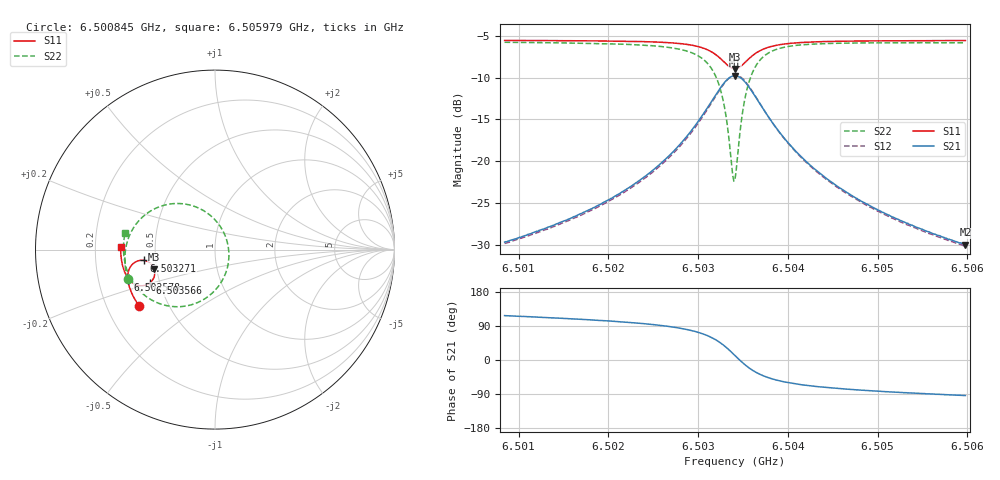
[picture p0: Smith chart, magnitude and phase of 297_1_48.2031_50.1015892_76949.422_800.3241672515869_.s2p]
#  HZ  S  RI  R  50.00
! Rohde & Schwarz Vector Network Analyzer
! Rohde-Schwarz,ZNB20-2Port,1311601062101988,3.16
! Created: UTC 3/20/2024, 11:49:18 AM
! freq[Hz]  re:S11  im:S11  re:S21  im:S21  re:S12  im:S12  re:S22  im:S22
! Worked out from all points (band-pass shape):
!   401 points, 6.500845 GHz to 6.505979 GHz, reference 50 ohm
!   highest |S21| = -9.78 dB at 6.503412 GHz (marker M1); lowest = -30.0 dB at 6.505979 GHz (marker M2)
!   |S21| within 3 dB of the highest: 6.503154 GHz to 6.503668 GHz (514 kHz wide, 0.0079 % of centre)
!   lowest |S11| = -9.0 dB at 6.503412 GHz (marker M3), VSWR 2.11, Z = 24.2 - j6.07 ohm
!   |S11| at or under -10 dB: nowhere
!   |S22| runs from -22.4 to -5.8 dB; largest |S21 - S12| = 0.011
!   S11 on the Smith chart (normalised r, x): 6.500845 GHz: 0.34, -0.30; 6.502578 GHz: 0.33, -0.15; 6.503271 GHz: 0.43, -0.06; 6.503566 GHz: 0.44, -0.20; 6.505979 GHz: 0.31, +0.01
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6.5008447e9  -0.4214 -0.3157  -0.0149 0.0292  -0.0134 0.0293  -0.4868 -0.1636
6.5017048e9  -0.4591 -0.2532  -0.0144 0.0466  -0.012 0.0463  -0.5016 -0.0737
6.5021412e9  -0.4748 -0.2152  -0.0121 0.0637  -0.00914 0.0628  -0.5003 -0.0139
6.5025648e9  -0.4857 -0.1698  -0.00304 0.0948  0.000636 0.0926  -0.481 0.0673
6.5025777e9  -0.4859 -0.1681  -0.00237 0.0961  0.00118 0.0938  -0.48 0.0703
6.5028216e9  -0.4851 -0.133  0.0159 0.1291  0.0197 0.1253  -0.4415 0.1399
6.5030013e9  -0.4737 -0.0999  0.0504 0.1651  0.0537 0.1598  -0.3732 0.2057
6.5031682e9  -0.4391 -0.0668  0.1279 0.1981  0.1291 0.1918  -0.2312 0.2562
6.5032708e9  -0.3966 -0.0602  0.2129 0.189  0.2131 0.1837  -0.0834 0.2277
6.5033222e9  -0.3713 -0.0688  0.2607 0.1608  0.2614 0.1563  -0.00396 0.1703
6.5033864e9  -0.345 -0.0951  0.3078 0.0977  0.3101 0.0928  0.0666 0.0487
6.5034121e9  -0.3389 -0.1095  0.3176 0.066  0.3207 0.06  0.077 -0.0106
6.5034249e9  -0.3369 -0.1172  0.3201 0.0494  0.3234 0.043  0.0776 -0.0409
6.5035019e9  -0.343 -0.1613  0.3029 -0.044  0.3048 -0.0538  0.0195 -0.2039
6.5035661e9  -0.3641 -0.1868  0.2607 -0.0971  0.2595 -0.1081  -0.0756 -0.285
6.5036688e9  -0.403 -0.2015  0.1872 -0.1326  0.1819 -0.142  -0.2232 -0.318
6.5038357e9  -0.4484 -0.1918  0.1068 -0.1296  0.1 -0.1345  -0.3679 -0.2719
6.5040154e9  -0.4756 -0.1704  0.0631 -0.11  0.0569 -0.1122  -0.439 -0.2079
6.5042721e9  -0.4962 -0.1404  0.0335 -0.0862  0.0288 -0.0866  -0.4817 -0.1363
6.5046572e9  -0.5117 -0.1007  0.0148 -0.0634  0.0115 -0.063  -0.5039 -0.062
6.5051322e9  -0.5212 -0.0572  0.00474 -0.0473  0.00273 -0.0466  -0.5099 0.00371
6.5059794e9  -0.5258 0.0142  -0.00211 -0.0316  -0.00334 -0.0309  -0.5017 0.0919
